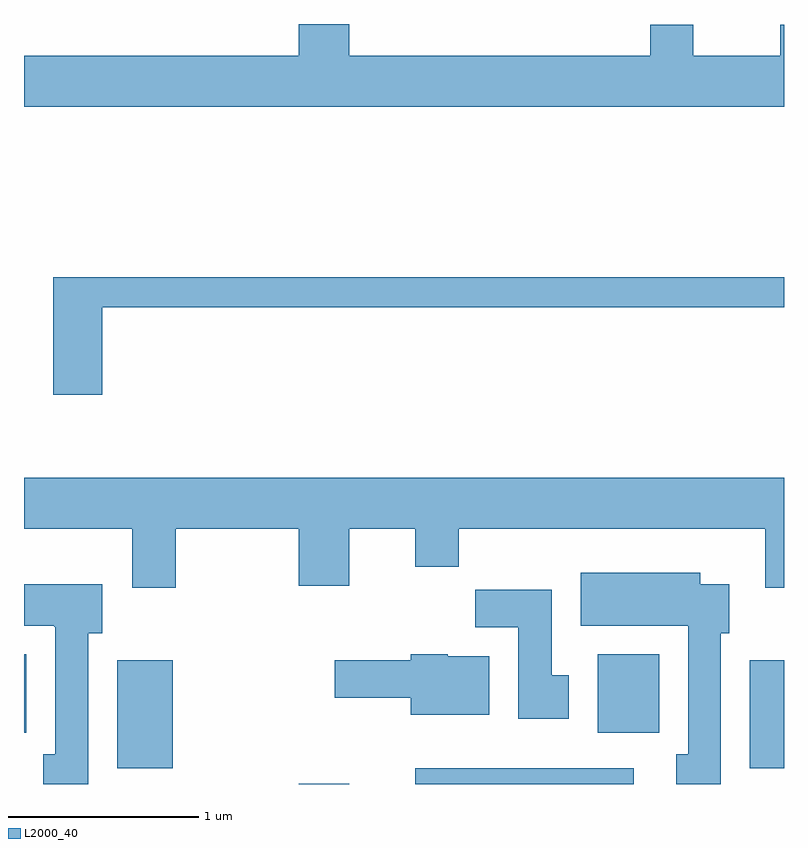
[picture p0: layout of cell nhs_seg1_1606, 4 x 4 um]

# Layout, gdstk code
import gdstk
lib = gdstk.Library(unit=1e-6, precision=1e-09)
def R(c, l, rs):  # rectangles x0, y0, x1, y1
    for r in rs: c.add(gdstk.rectangle(r[:2], r[2:], *l))
def P(c, l, *ps):  # polygons
    for p in ps: c.add(gdstk.Polygon(p, *l))
L2000_40 = (2000, 40)

nhs_seg1_1606 = lib.new_cell('nhs_seg1_1606')
R(nhs_seg1_1606, L2000_40, [(235.056,973.712,235.324,973.714), (235.671,973.712,236.819,973.794), (234.101,973.796,234.394,974.364), (237.431,973.796,237.611,974.364), (233.611,973.981,233.624,974.394), (236.631,973.981,236.954,974.394)])
P(nhs_seg1_1606, L2000_40, [(237.611,977.709),(237.591,977.709),(237.591,977.544),(237.134,977.544),(237.134,977.709),(236.906,977.709),(236.906,977.544),(235.324,977.544),(235.324,977.712),(235.056,977.712),(235.056,977.544),(233.611,977.544),(233.611,977.276),(237.611,977.276)],
  [(234.024,976.221),(237.611,976.221),(237.611,976.379),(233.766,976.379),(233.766,975.761),(234.024,975.761)],
  [(234.409,975.056),(235.056,975.056),(235.056,974.756),(235.324,974.756),(235.324,975.056),(235.671,975.056),(235.671,974.856),(235.899,974.856),(235.899,975.056),(237.511,975.056),(237.511,974.746),(237.611,974.746),(237.611,975.324),(233.611,975.324),(233.611,975.056),(234.181,975.056),(234.181,974.746),(234.409,974.746)],
  [(237.279,974.506),(237.324,974.506),(237.324,974.764),(237.169,974.764),(237.169,974.824),(236.541,974.824),(236.541,974.546),(237.106,974.546),(237.106,973.869),(237.043,973.869),(237.043,973.712),(237.279,973.712)],
  [(233.949,974.506),(234.024,974.506),(234.024,974.764),(233.611,974.764),(233.611,974.546),(233.77,974.546),(233.77,974.54),(233.776,974.54),(233.776,973.869),(233.713,973.869),(233.713,973.712),(233.949,973.712)],
  [(236.479,974.284),(236.389,974.284),(236.389,974.734),(235.986,974.734),(235.986,974.536),(236.211,974.536),(236.211,974.056),(236.479,974.056)],
  [(236.059,974.384),(235.84,974.384),(235.84,974.394),(235.646,974.394),(235.646,974.364),(235.246,974.364),(235.246,974.166),(235.646,974.166),(235.646,974.076),(236.059,974.076)])

lib.write_gds('nhs_seg1_1606.gds')
